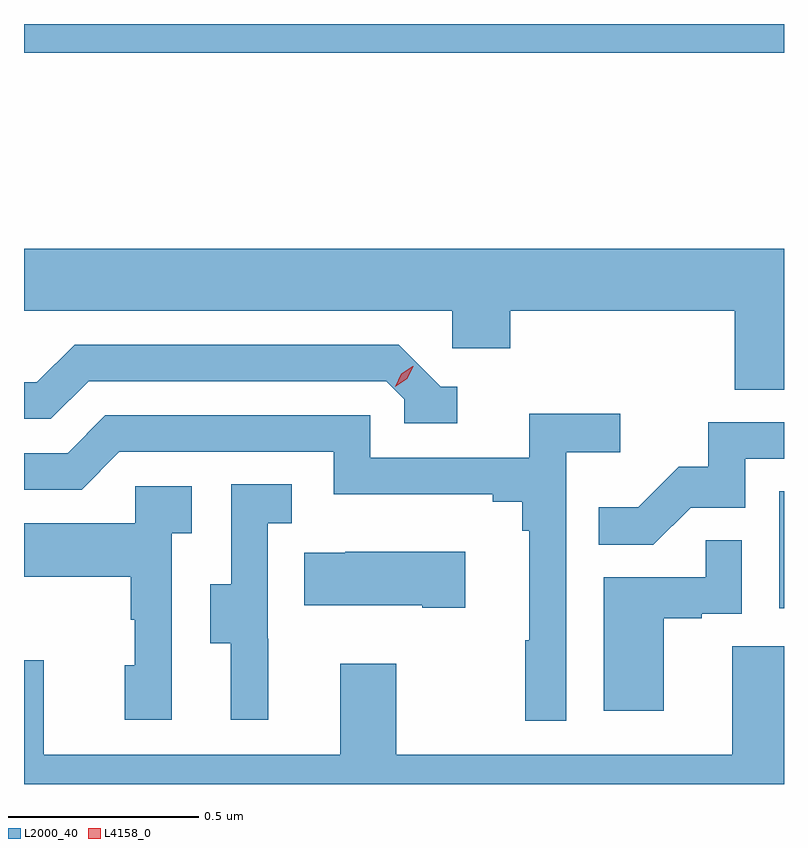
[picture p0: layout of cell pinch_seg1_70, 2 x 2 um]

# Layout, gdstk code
import gdstk
lib = gdstk.Library(unit=1e-6, precision=1e-09)
def R(c, l, rs):  # rectangles x0, y0, x1, y1
    for r in rs: c.add(gdstk.rectangle(r[:2], r[2:], *l))
def P(c, l, *ps):  # polygons
    for p in ps: c.add(gdstk.Polygon(p, *l))
L2000_40 = (2000, 40)
L4158_0 = (4158, 0)

pinch_seg1_70 = lib.new_cell('pinch_seg1_70')
R(pinch_seg1_70, L2000_40, [(1046.702,566.934,1046.715,567.241), (1044.715,568.396,1046.715,568.471)])
P(pinch_seg1_70, L2000_40, [(1046.715,567.88),(1044.715,567.88),(1044.715,567.716),(1045.842,567.716),(1045.842,567.618),(1045.994,567.618),(1045.994,567.716),(1046.585,567.716),(1046.585,567.508),(1046.715,567.508)],
  [(1045.855,567.516),(1045.812,567.516),(1045.701,567.627),(1044.848,567.627),(1044.749,567.528),(1044.715,567.528),(1044.715,567.432),(1044.786,567.432),(1044.885,567.531),(1045.668,567.531),(1045.716,567.483),(1045.716,567.42),(1045.855,567.42)],
  [(1046.142,567.344),(1046.284,567.344),(1046.284,567.446),(1046.045,567.446),(1046.045,567.33),(1045.626,567.33),(1045.626,567.441),(1044.929,567.441),(1044.83,567.342),(1044.715,567.342),(1044.715,567.246),(1044.867,567.246),(1044.966,567.345),(1045.53,567.345),(1045.53,567.233),(1045.949,567.233),(1045.949,567.214),(1046.026,567.214),(1046.026,567.137),(1046.045,567.137),(1046.045,566.849),(1046.034,566.849),(1046.034,566.637),(1046.142,566.637)],
  [(1046.469,567.198),(1046.613,567.198),(1046.613,567.327),(1046.715,567.327),(1046.715,567.423),(1046.515,567.423),(1046.515,567.306),(1046.438,567.306),(1046.331,567.199),(1046.227,567.199),(1046.227,567.1),(1046.371,567.1)],
  [(1045.358,566.853),(1045.356,566.853),(1045.356,567.157),(1045.42,567.157),(1045.42,567.26),(1045.26,567.26),(1045.26,566.997),(1045.205,566.997),(1045.205,566.842),(1045.259,566.842),(1045.259,566.64),(1045.358,566.64)],
  [(1045.104,567.131),(1045.156,567.131),(1045.156,567.255),(1045.008,567.255),(1045.008,567.157),(1044.715,567.157),(1044.715,567.017),(1044.996,567.017),(1044.996,566.903),(1045.006,566.903),(1045.006,566.784),(1044.98,566.784),(1044.98,566.64),(1045.104,566.64)],
  [(1046.398,566.907),(1046.498,566.907),(1046.498,566.919),(1046.604,566.919),(1046.604,567.113),(1046.509,567.113),(1046.509,567.015),(1046.24,567.015),(1046.24,566.664),(1046.398,566.664)],
  [(1045.876,567.082),(1045.561,567.082),(1045.561,567.079),(1045.453,567.079),(1045.453,566.942),(1045.763,566.942),(1045.763,566.935),(1045.876,566.935)],
  [(1046.715,566.834),(1046.579,566.834),(1046.579,566.548),(1045.695,566.548),(1045.695,566.788),(1045.547,566.788),(1045.547,566.548),(1044.767,566.548),(1044.767,566.797),(1044.715,566.797),(1044.715,566.471),(1046.715,566.471)])
P(pinch_seg1_70, L4158_0, [(1045.692,567.516),(1045.692,567.517),(1045.708,567.55),(1045.738,567.57),(1045.739,567.57),(1045.739,567.57),(1045.723,567.537),(1045.692,567.516)])

lib.write_gds('pinch_seg1_70.gds')
